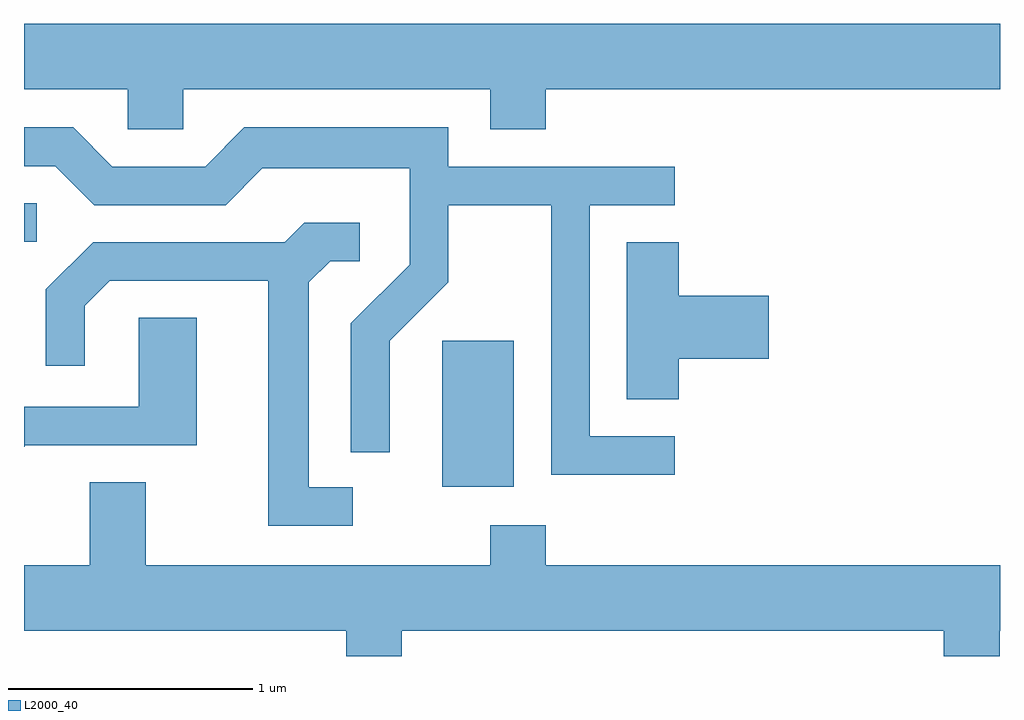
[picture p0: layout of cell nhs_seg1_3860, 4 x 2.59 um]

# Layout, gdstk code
import gdstk
lib = gdstk.Library(unit=1e-6, precision=1e-09)
def R(c, l, rs):  # rectangles x0, y0, x1, y1
    for r in rs: c.add(gdstk.rectangle(r[:2], r[2:], *l))
def P(c, l, *ps):  # polygons
    for p in ps: c.add(gdstk.Polygon(p, *l))
L2000_40 = (2000, 40)

nhs_seg1_3860 = lib.new_cell('nhs_seg1_3860')
R(nhs_seg1_3860, L2000_40, [(303.326,882.406,303.619,883.004), (301.611,883.411,301.663,883.569)])
P(nhs_seg1_3860, L2000_40, [(302.264,884.036),(303.521,884.036),(303.521,883.871),(303.749,883.871),(303.749,884.036),(305.611,884.036),(305.611,884.304),(301.611,884.304),(301.611,884.036),(302.036,884.036),(302.036,883.871),(302.264,883.871)],
  [(304.278,882.614),(303.929,882.614),(303.929,883.561),(304.278,883.561),(304.278,883.719),(303.349,883.719),(303.349,883.879),(302.514,883.879),(302.354,883.719),(301.972,883.719),(301.812,883.879),(301.611,883.879),(301.611,883.721),(301.739,883.721),(301.899,883.561),(302.437,883.561),(302.587,883.711),(303.191,883.711),(303.191,883.317),(302.951,883.077),(302.951,882.548),(303.109,882.548),(303.109,883.004),(303.349,883.244),(303.349,883.561),(303.771,883.561),(303.771,882.456),(304.278,882.456)],
  [(302.958,882.404),(302.779,882.404),(302.779,883.244),(302.867,883.331),(302.988,883.331),(302.988,883.489),(302.759,883.489),(302.679,883.409),(301.894,883.409),(301.701,883.217),(301.701,882.903),(301.859,882.903),(301.859,883.149),(301.962,883.251),(302.611,883.251),(302.611,882.246),(302.958,882.246)],
  [(304.294,882.931),(304.664,882.931),(304.664,883.189),(304.294,883.189),(304.294,883.409),(304.081,883.409),(304.081,882.766),(304.294,882.766)],
  [(301.615,882.576),(302.319,882.576),(302.319,883.099),(302.081,883.099),(302.081,882.734),(301.611,882.734),(301.611,882.571),(301.615,882.571)],
  [(303.159,881.816),(305.381,881.816),(305.381,881.712),(305.609,881.712),(305.609,881.816),(305.611,881.816),(305.611,882.084),(303.749,882.084),(303.749,882.249),(303.521,882.249),(303.521,882.084),(302.109,882.084),(302.109,882.424),(301.881,882.424),(301.881,882.084),(301.611,882.084),(301.611,881.816),(302.931,881.816),(302.931,881.712),(303.159,881.712)])

lib.write_gds('nhs_seg1_3860.gds')
